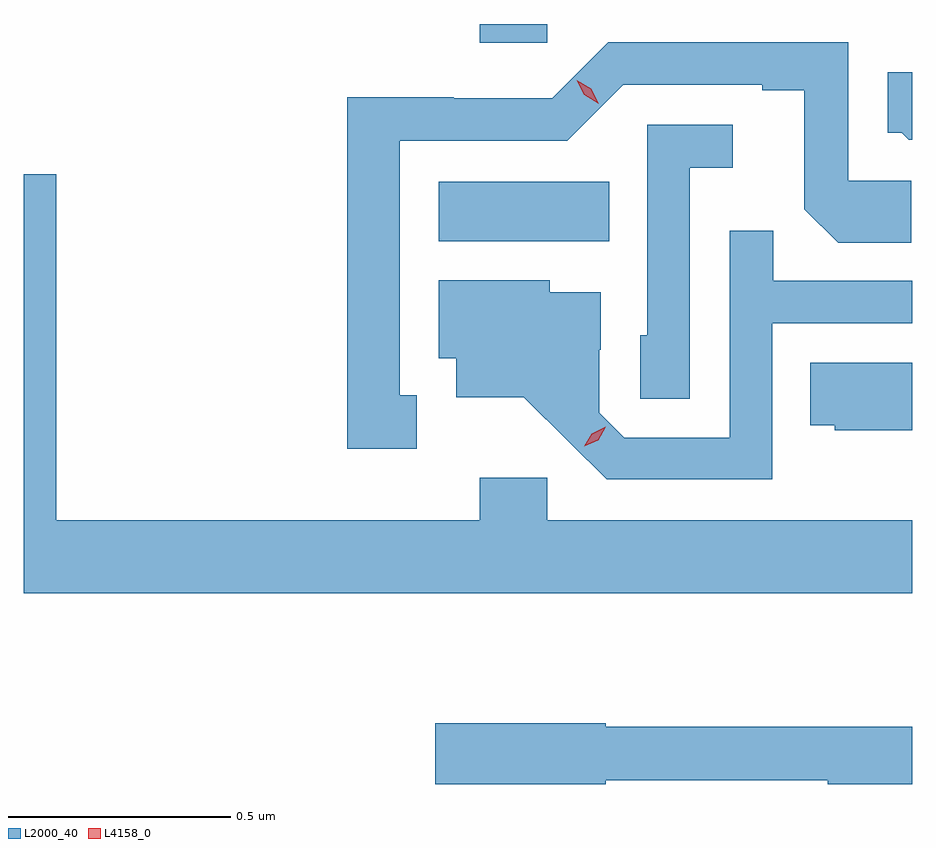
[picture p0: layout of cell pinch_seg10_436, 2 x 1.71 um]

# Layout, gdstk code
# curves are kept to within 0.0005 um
import gdstk
lib = gdstk.Library(unit=1e-6, precision=1e-09)
def R(c, l, rs):  # rectangles x0, y0, x1, y1
    for r in rs: c.add(gdstk.rectangle(r[:2], r[2:], *l))
def P(c, l, *ps):  # polygons
    for p in ps: c.add(gdstk.Polygon(p, *l))
L2000_40 = (2000, 40)
L4158_0 = (4158, 0)

pinch_seg10_436 = lib.new_cell('pinch_seg10_436')
R(pinch_seg10_436, L2000_40, [(377.132,1314.428,377.516,1314.562), (377.225,1314.875,377.376,1314.917)])
P(pinch_seg10_436, L2000_40, [(377.083,1314.081),(377.044,1314.081),(377.044,1314.654),(377.421,1314.654),(377.547,1314.78),(377.861,1314.78),(377.861,1314.768),(377.955,1314.768),(377.955,1314.5),(378.031,1314.424),(378.196,1314.424),(378.196,1314.564),(378.054,1314.564),(378.054,1314.876),(377.514,1314.876),(377.388,1314.75),(377.166,1314.75),(377.166,1314.752),(376.926,1314.752),(376.926,1313.961),(377.083,1313.961)],
  [(378.198,1314.808),(378.143,1314.808),(378.143,1314.672),(378.174,1314.672),(378.19,1314.656),(378.198,1314.656)],
  [(377.697,1314.593),(377.794,1314.593),(377.794,1314.69),(377.601,1314.69),(377.601,1314.216),(377.586,1314.216),(377.586,1314.073),(377.697,1314.073)],
  [(378.198,1313.8),(377.376,1313.8),(377.376,1313.896),(377.225,1313.896),(377.225,1313.8),(376.271,1313.8),(376.271,1314.579),(376.198,1314.579),(376.198,1313.636),(378.198,1313.636)],
  [(377.883,1314.243),(378.198,1314.243),(378.198,1314.339),(377.885,1314.339),(377.885,1314.452),(377.787,1314.452),(377.787,1313.985),(377.55,1313.985),(377.493,1314.042),(377.493,1314.184),(377.497,1314.184),(377.497,1314.313),(377.382,1314.313),(377.382,1314.34),(377.132,1314.34),(377.132,1314.164),(377.171,1314.164),(377.171,1314.077),(377.323,1314.077),(377.51,1313.892),(377.883,1313.892)],
  [(378.198,1314.154),(377.968,1314.154),(377.968,1314.014),(378.024,1314.014),(378.024,1314.002),(378.198,1314.002)],
  [(377.508,1313.214),(378.008,1313.214),(378.008,1313.206),(378.198,1313.206),(378.198,1313.335),(377.508,1313.335),(377.508,1313.343),(377.124,1313.343),(377.124,1313.206),(377.508,1313.206)])
P(pinch_seg10_436, L4158_0, [(377.46,1313.966),(377.46,1313.966),(377.477,1313.995),(377.508,1314.01),(377.508,1314.01),(377.508,1314.01),(377.491,1313.98),(377.46,1313.966)],
  [(377.492,1314.738),(377.46,1314.758),(377.443,1314.79),(377.443,1314.79),(377.443,1314.79),(377.475,1314.771),(377.492,1314.738),(377.492,1314.738)])

lib.write_gds('pinch_seg10_436.gds')
